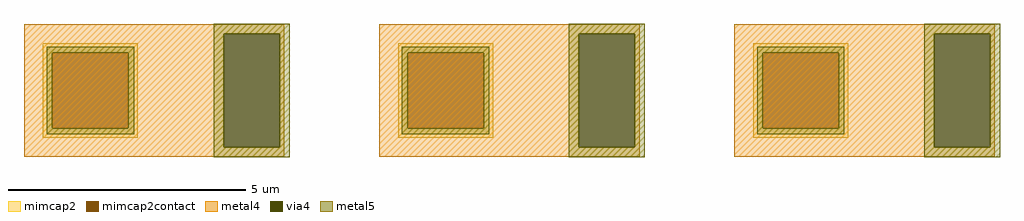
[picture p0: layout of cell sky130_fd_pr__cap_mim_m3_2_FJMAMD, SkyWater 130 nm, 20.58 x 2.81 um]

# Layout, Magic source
magic
tech sky130B
magscale 1 2
<< metal4 >>
rect -2047 239 -949 280
rect -2047 -239 -1205 239
rect -969 -239 -949 239
rect -2047 -280 -949 -239
rect -549 239 549 280
rect -549 -239 293 239
rect 529 -239 549 239
rect -549 -280 549 -239
rect 949 239 2047 280
rect 949 -239 1791 239
rect 2027 -239 2047 239
rect 949 -280 2047 -239
<< via4 >>
rect -1205 -239 -969 239
rect 293 -239 529 239
rect 1791 -239 2027 239
<< mimcap2 >>
rect -1967 160 -1567 200
rect -1967 -160 -1927 160
rect -1607 -160 -1567 160
rect -1967 -200 -1567 -160
rect -469 160 -69 200
rect -469 -160 -429 160
rect -109 -160 -69 160
rect -469 -200 -69 -160
rect 1029 160 1429 200
rect 1029 -160 1069 160
rect 1389 -160 1429 160
rect 1029 -200 1429 -160
<< mimcap2contact >>
rect -1927 -160 -1607 160
rect -429 -160 -109 160
rect 1069 -160 1389 160
<< metal5 >>
rect -1247 239 -927 281
rect -1951 160 -1583 184
rect -1951 -160 -1927 160
rect -1607 -160 -1583 160
rect -1951 -184 -1583 -160
rect -1247 -239 -1205 239
rect -969 -239 -927 239
rect 251 239 571 281
rect -453 160 -85 184
rect -453 -160 -429 160
rect -109 -160 -85 160
rect -453 -184 -85 -160
rect -1247 -281 -927 -239
rect 251 -239 293 239
rect 529 -239 571 239
rect 1749 239 2069 281
rect 1045 160 1413 184
rect 1045 -160 1069 160
rect 1389 -160 1413 160
rect 1045 -184 1413 -160
rect 251 -281 571 -239
rect 1749 -239 1791 239
rect 2027 -239 2069 239
rect 1749 -281 2069 -239
<< properties >>
string FIXED_BBOX 949 -280 1509 280
string gencell sky130_fd_pr__cap_mim_m3_2
string library sky130
string parameters w 2.00 l 2.00 val 9.52 carea 2.00 cperi 0.19 nx 3 ny 1 dummy 0 square 0 lmin 2.00 wmin 2.00 lmax 30.0 wmax 30.0 dc 0 bconnect 1 tconnect 1 ccov 100
<< end >>
